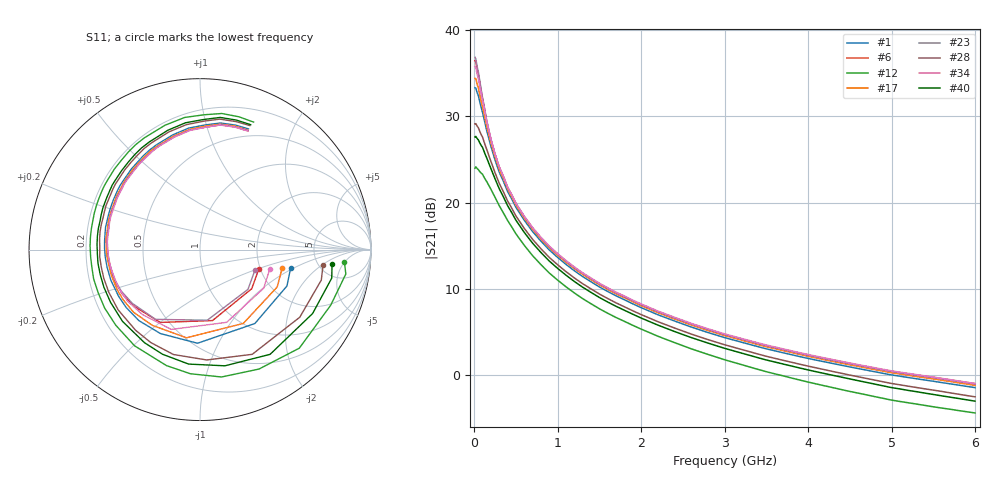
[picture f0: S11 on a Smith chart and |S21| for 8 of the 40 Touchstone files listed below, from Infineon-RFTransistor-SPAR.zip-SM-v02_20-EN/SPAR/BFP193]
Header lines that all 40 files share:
! Infineon Technologies  Discrete & RF Semiconductors
! BFP193
! Common Emitter S-Parameters:  Jan 2017
# GHz  S  MA  R  50
!  f  S11  S21  S12  S22
! GHz  MAG  ANG  MAG  ANG  MAG  ANG  MAG  ANG
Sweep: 10 MHz to 6 GHz
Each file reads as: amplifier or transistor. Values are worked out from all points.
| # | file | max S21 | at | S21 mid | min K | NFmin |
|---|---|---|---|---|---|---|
| 1 | BFP193_w_noise_VCE_9.0V_IC_20mA.s2p | 33.3 dB | 10 MHz | 7.0 dB at 2.2 GHz | 0.04 | 1.05 dB |
| 2 | BFP193_w_noise_VCE_9.0V_IC_25mA.s2p | 34.5 dB | 10 MHz | 7.2 dB at 2.2 GHz | 0.08 | 1.12 dB |
| 3 | BFP193_w_noise_VCE_9.0V_IC_30mA.s2p | 35.3 dB | 10 MHz | 7.3 dB at 2.2 GHz | 0.14 | 1.22 dB |
| 4 | BFP193_w_noise_VCE_9.0V_IC_32mA.s2p | 35.5 dB | 10 MHz | 7.3 dB at 2.2 GHz | 0.11 | 1.24 dB |
| 5 | BFP193_w_noise_VCE_9.0V_IC_35mA.s2p | 35.9 dB | 10 MHz | 7.3 dB at 2.2 GHz | 0.09 | 1.29 dB |
| 6 | BFP193_w_noise_VCE_9.0V_IC_40mA.s2p | 36.4 dB | 10 MHz | 7.4 dB at 2.2 GHz | 0.14 | 1.38 dB |
| 7 | BFP193_w_noise_VCE_9.0V_IC_45mA.s2p | 36.8 dB | 10 MHz | 7.4 dB at 2.2 GHz | 0.16 | 1.45 dB |
| 8 | BFP193_w_noise_VCE_9.0V_IC_48mA.s2p | 37.0 dB | 10 MHz | 7.3 dB at 2.2 GHz | 0.21 | 1.49 dB |
| 9 | BFP193_w_noise_VCE_9.0V_IC_50mA.s2p | 37.1 dB | 10 MHz | 7.3 dB at 2.2 GHz | 0.17 | 1.52 dB |
| 10 | BFP193_w_noise_VCE_9.0V_IC_55mA.s2p | 37.3 dB | 10 MHz | 7.2 dB at 2.2 GHz | 0.19 | 1.60 dB |
| 11 | BFP193_w_noise_VCE_9.0V_IC_60mA.s2p | 37.3 dB | 10 MHz | 7.0 dB at 2.2 GHz | 0.24 | 1.67 dB |
| 12 | BFP193_w_noise_VCE_10.V_IC_5.0mA.s2p | 24.1 dB | 20 MHz | 4.5 dB at 2.2 GHz | -0.05 | 0.92 dB |
| 13 | BFP193_w_noise_VCE_10.V_IC_8.0mA.s2p | 27.7 dB | 20 MHz | 5.7 dB at 2.2 GHz | -0.03 | 0.85 dB |
| 14 | BFP193_w_noise_VCE_10.V_IC_10mA.s2p | 29.2 dB | 20 MHz | 6.1 dB at 2.2 GHz | 0.00 | 0.87 dB |
| 15 | BFP193_w_noise_VCE_10.V_IC_16mA.s2p | 32.0 dB | 10 MHz | 6.8 dB at 2.2 GHz | 0.07 | 0.97 dB |
| 16 | BFP193_w_noise_VCE_10.V_IC_20mA.s2p | 33.3 dB | 10 MHz | 7.1 dB at 2.2 GHz | 0.08 | 1.05 dB |
| 17 | BFP193_w_noise_VCE_10.V_IC_25mA.s2p | 34.4 dB | 10 MHz | 7.2 dB at 2.2 GHz | 0.08 | 1.12 dB |
| 18 | BFP193_w_noise_VCE_10.V_IC_30mA.s2p | 35.2 dB | 10 MHz | 7.3 dB at 2.2 GHz | 0.12 | 1.22 dB |
| 19 | BFP193_w_noise_VCE_10.V_IC_32mA.s2p | 35.5 dB | 10 MHz | 7.4 dB at 2.2 GHz | 0.16 | 1.24 dB |
| 20 | BFP193_w_noise_VCE_10.V_IC_35mA.s2p | 35.8 dB | 10 MHz | 7.4 dB at 2.2 GHz | 0.14 | 1.29 dB |
| 21 | BFP193_w_noise_VCE_10.V_IC_40mA.s2p | 36.3 dB | 10 MHz | 7.4 dB at 2.2 GHz | 0.18 | 1.38 dB |
| 22 | BFP193_w_noise_VCE_10.V_IC_45mA.s2p | 36.7 dB | 10 MHz | 7.4 dB at 2.2 GHz | 0.16 | 1.45 dB |
| 23 | BFP193_w_noise_VCE_10.V_IC_48mA.s2p | 36.8 dB | 10 MHz | 7.3 dB at 2.2 GHz | 0.16 | 1.49 dB |
| 24 | BFP193_w_noise_VCE_10.V_IC_50mA.s2p | 36.9 dB | 10 MHz | 7.3 dB at 2.2 GHz | 0.18 | 1.52 dB |
| 25 | BFP193_w_noise_VCE_10.V_IC_55mA.s2p | 36.8 dB | 10 MHz | 7.0 dB at 2.2 GHz | 0.23 | 1.60 dB |
| 26 | BFP193_w_noise_VCE_11.V_IC_5.0mA.s2p | 24.1 dB | 20 MHz | 4.6 dB at 2.2 GHz | -0.02 | 0.92 dB |
| 27 | BFP193_w_noise_VCE_11.V_IC_8.0mA.s2p | 27.6 dB | 20 MHz | 5.8 dB at 2.2 GHz | 0.03 | 0.85 dB |
| 28 | BFP193_w_noise_VCE_11.V_IC_10mA.s2p | 29.1 dB | 20 MHz | 6.2 dB at 2.2 GHz | -0.02 | 0.87 dB |
| 29 | BFP193_w_noise_VCE_11.V_IC_16mA.s2p | 32.0 dB | 10 MHz | 6.9 dB at 2.2 GHz | 0.09 | 0.97 dB |
| 30 | BFP193_w_noise_VCE_11.V_IC_20mA.s2p | 33.2 dB | 10 MHz | 7.1 dB at 2.2 GHz | 0.14 | 1.05 dB |
| 31 | BFP193_w_noise_VCE_11.V_IC_25mA.s2p | 34.3 dB | 10 MHz | 7.3 dB at 2.2 GHz | 0.16 | 1.12 dB |
| 32 | BFP193_w_noise_VCE_11.V_IC_30mA.s2p | 35.1 dB | 10 MHz | 7.4 dB at 2.2 GHz | 0.18 | 1.22 dB |
| 33 | BFP193_w_noise_VCE_11.V_IC_32mA.s2p | 35.4 dB | 10 MHz | 7.4 dB at 2.2 GHz | 0.15 | 1.24 dB |
| 34 | BFP193_w_noise_VCE_11.V_IC_35mA.s2p | 35.7 dB | 10 MHz | 7.4 dB at 2.2 GHz | 0.17 | 1.29 dB |
| 35 | BFP193_w_noise_VCE_11.V_IC_40mA.s2p | 36.2 dB | 10 MHz | 7.4 dB at 2.2 GHz | 0.17 | 1.38 dB |
| 36 | BFP193_w_noise_VCE_11.V_IC_45mA.s2p | 36.5 dB | 10 MHz | 7.4 dB at 2.2 GHz | 0.21 | 1.45 dB |
| 37 | BFP193_w_noise_VCE_11.V_IC_48mA.s2p | 36.4 dB | 10 MHz | 7.2 dB at 2.2 GHz | 0.18 | 1.49 dB |
| 38 | BFP193_w_noise_VCE_11.V_IC_50mA.s2p | 35.8 dB | 10 MHz | 6.7 dB at 2.2 GHz | 0.29 | 1.52 dB |
| 39 | BFP193_w_noise_VCE_12.V_IC_5.0mA.s2p | 24.0 dB | 20 MHz | 4.6 dB at 2.2 GHz | 0.03 | 0.92 dB |
| 40 | BFP193_w_noise_VCE_12.V_IC_8.0mA.s2p | 27.7 dB | 20 MHz | 5.8 dB at 2.2 GHz | -0.01 | 0.85 dB |

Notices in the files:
Hoja de datos/BFP 450/Infineon-RFTransistor-SPAR.zip-SM-v02_20-EN/SPAR/BFP193/BFP193_w_noise_VCE_10.V_IC_10mA.s2p:
(c) 2017  Infineon Technologies AG, Munich
